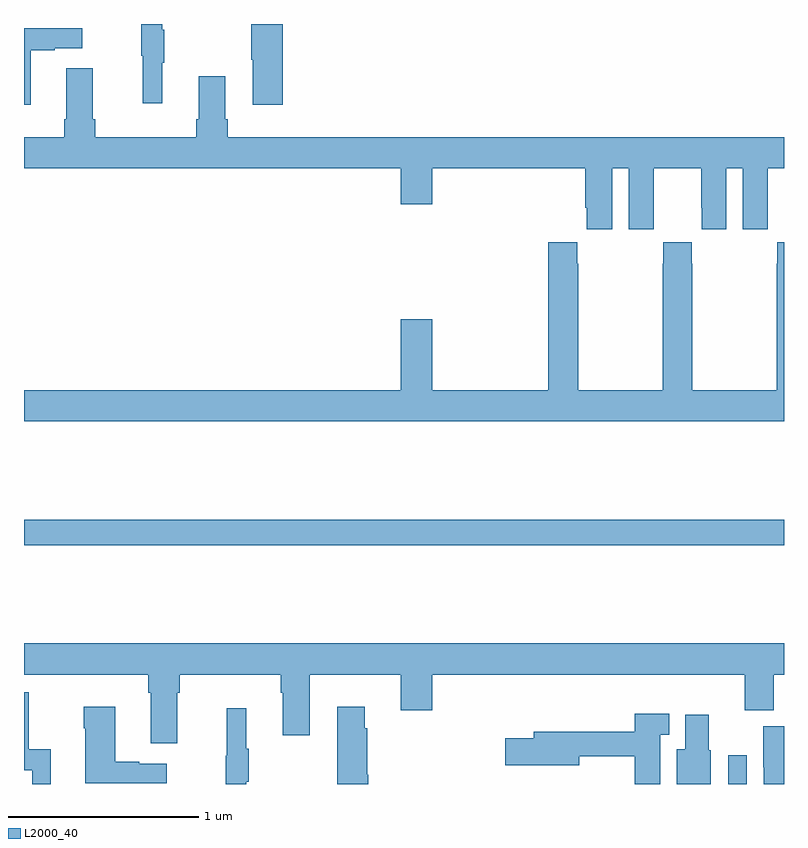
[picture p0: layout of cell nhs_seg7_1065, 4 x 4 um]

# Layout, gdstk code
import gdstk
lib = gdstk.Library(unit=1e-6, precision=1e-09)
def R(c, l, rs):  # rectangles x0, y0, x1, y1
    for r in rs: c.add(gdstk.rectangle(r[:2], r[2:], *l))
def P(c, l, *ps):  # polygons
    for p in ps: c.add(gdstk.Polygon(p, *l))
L2000_40 = (2000, 40)

nhs_seg7_1065 = lib.new_cell('nhs_seg7_1065')
R(nhs_seg7_1065, L2000_40, [(190.707,1040,190.803,1040.152), (187,1041.256,191,1041.392)])
P(nhs_seg7_1065, L2000_40, [(187.727,1043.795),(187.738,1043.795),(187.738,1043.969),(187.727,1043.969),(187.727,1044),(187.617,1044),(187.617,1043.832),(187.624,1043.832),(187.624,1043.583),(187.727,1043.583)],
  [(188.363,1044),(188.197,1044),(188.197,1043.812),(188.204,1043.812),(188.204,1043.574),(188.363,1043.574)],
  [(187.036,1043.863),(187.163,1043.863),(187.163,1043.873),(187.306,1043.873),(187.306,1043.977),(187,1043.977),(187,1043.574),(187.036,1043.574)],
  [(188.072,1043.5),(188.059,1043.5),(188.059,1043.725),(187.919,1043.725),(187.919,1043.5),(187.907,1043.5),(187.907,1043.404),(187.376,1043.404),(187.376,1043.5),(187.363,1043.5),(187.363,1043.767),(187.223,1043.767),(187.223,1043.5),(187.211,1043.5),(187.211,1043.404),(187,1043.404),(187,1043.24),(188.984,1043.24),(188.984,1043.052),(189.148,1043.052),(189.148,1043.24),(189.953,1043.24),(189.953,1043.032),(189.962,1043.032),(189.962,1042.92),(190.096,1042.92),(190.096,1043.24),(190.184,1043.24),(190.184,1042.92),(190.314,1042.92),(190.314,1043.032),(190.315,1043.032),(190.315,1043.24),(190.565,1043.24),(190.565,1043.032),(190.566,1043.032),(190.566,1042.92),(190.696,1042.92),(190.696,1043.24),(190.784,1043.24),(190.784,1042.92),(190.914,1042.92),(190.914,1043.032),(190.915,1043.032),(190.915,1043.24),(191,1043.24),(191,1043.404),(188.072,1043.404)],
  [(191,1042.852),(190.965,1042.852),(190.965,1042.739),(190.963,1042.739),(190.963,1042.072),(190.518,1042.072),(190.518,1042.739),(190.515,1042.739),(190.515,1042.852),(190.365,1042.852),(190.365,1042.739),(190.363,1042.739),(190.363,1042.072),(189.918,1042.072),(189.918,1042.739),(189.911,1042.739),(189.911,1042.852),(189.758,1042.852),(189.758,1042.072),(189.148,1042.072),(189.148,1042.447),(188.984,1042.447),(188.984,1042.072),(187,1042.072),(187,1041.908),(191,1041.908)],
  [(187.807,1040.48),(187.82,1040.48),(187.82,1040.576),(188.351,1040.576),(188.351,1040.48),(188.363,1040.48),(188.363,1040.256),(188.503,1040.256),(188.503,1040.576),(188.984,1040.576),(188.984,1040.388),(189.148,1040.388),(189.148,1040.576),(190.793,1040.576),(190.793,1040.389),(190.945,1040.389),(190.945,1040.576),(191,1040.576),(191,1040.74),(187,1040.74),(187,1040.576),(187.655,1040.576),(187.655,1040.48),(187.667,1040.48),(187.667,1040.214),(187.807,1040.214)],
  [(187.142,1040.182),(187.024,1040.182),(187.024,1040.484),(187,1040.484),(187,1040.073),(187.044,1040.073),(187.044,1040),(187.142,1040)],
  [(188.812,1040.049),(188.807,1040.049),(188.807,1040.294),(188.794,1040.294),(188.794,1040.407),(188.648,1040.407),(188.648,1040),(188.812,1040)],
  [(187.75,1040.107),(187.607,1040.107),(187.607,1040.117),(187.48,1040.117),(187.48,1040.407),(187.315,1040.407),(187.315,1040.294),(187.322,1040.294),(187.322,1040.003),(187.75,1040.003)],
  [(188.171,1040.011),(188.182,1040.011),(188.182,1040.185),(188.171,1040.185),(188.171,1040.398),(188.068,1040.398),(188.068,1040.148),(188.061,1040.148),(188.061,1040),(188.171,1040)],
  [(190.348,1040.259),(190.396,1040.259),(190.396,1040.369),(190.214,1040.369),(190.214,1040.275),(189.683,1040.275),(189.683,1040.241),(189.534,1040.241),(189.534,1040.099),(189.922,1040.099),(189.922,1040.146),(190.214,1040.146),(190.214,1040),(190.348,1040)],
  [(190.615,1040.178),(190.603,1040.178),(190.603,1040.365),(190.481,1040.365),(190.481,1040.182),(190.436,1040.182),(190.436,1040),(190.615,1040)],
  [(191,1040.304),(190.892,1040.304),(190.892,1040.089),(190.893,1040.089),(190.893,1040),(191,1040)])

lib.write_gds('nhs_seg7_1065.gds')
